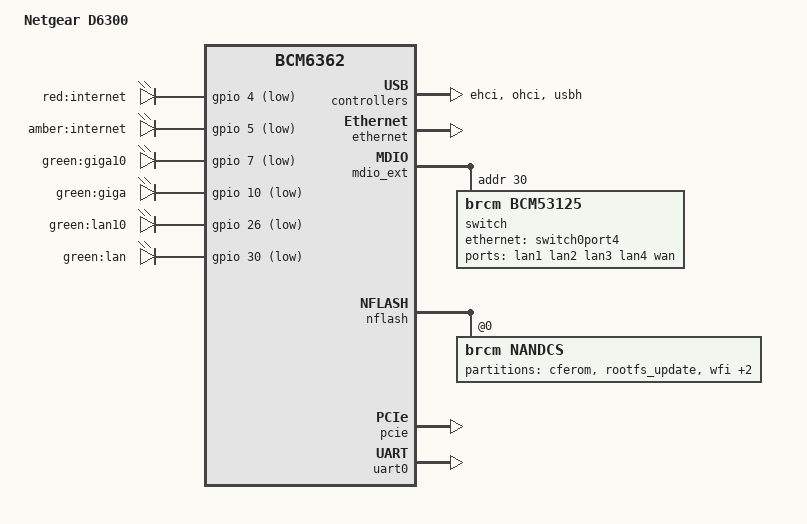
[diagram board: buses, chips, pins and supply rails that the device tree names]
// SPDX-License-Identifier: GPL-2.0-or-later

#include "bcm6362.dtsi"

/ {
	model = "Netgear D6300";
	compatible = "netgear,d6300", "brcm,bcm6362";

	// TODO: boot/running LEDs, once the mapping of the 24 serial LED
	// positions is known (see comments below).

	leds {
		compatible = "gpio-leds";

		// LED connections confirmed from the stock firmware gpio_test.sh:
		//   INET_FAIL_LED    = GPIO 4
		//   INET_ACT_LED     = GPIO 5
		//   GIGA_10_LINK_LED = GPIO 7
		//   GIGA_LINK_LED    = GPIO 10
		//   LAN_10_LINK_LED  = GPIO 26
		//   LAN_LINK_LED     = GPIO 30
		led_internet_fail: led-4 {
			label = "red:internet";
			gpios = <&gpio 4 GPIO_ACTIVE_LOW>;
		};

		led_internet_act: led-5 {
			label = "amber:internet";
			gpios = <&gpio 5 GPIO_ACTIVE_LOW>;
		};

		led_giga10: led-7 {
			label = "green:giga10";
			gpios = <&gpio 7 GPIO_ACTIVE_LOW>;
		};

		led_giga: led-10 {
			label = "green:giga";
			gpios = <&gpio 10 GPIO_ACTIVE_LOW>;
		};

		led_lan10: led-26 {
			label = "green:lan10";
			gpios = <&gpio 26 GPIO_ACTIVE_LOW>;
		};

		led_lan: led-30 {
			label = "green:lan";
			gpios = <&gpio 30 GPIO_ACTIVE_LOW>;
		};
	};

	// TODO: keys (reset/wps/wlan). The stock firmware does not expose the
	// GPIO numbers; they must be determined on the device before enabling.
};

&ehci {
	status = "okay";
};

&ethernet {
	status = "okay";

	nvmem-cells = <&macaddr_cferom_6a0>;
	nvmem-cell-names = "mac-address";
};

&mdio_ext {
	switch@1e {
		compatible = "brcm,bcm53125";
		reg = <30>;

		dsa,member = <1 0>;

		ports {
			#address-cells = <1>;
			#size-cells = <0>;

			port@0 {
				reg = <0>;
				label = "lan1";
			};

			port@1 {
				reg = <1>;
				label = "lan2";
			};

			port@2 {
				reg = <2>;
				label = "lan3";
			};

			port@3 {
				reg = <3>;
				label = "lan4";
			};

			port@4 {
				reg = <4>;
				label = "wan";
			};

			port@8 {
				reg = <8>;

				phy-mode = "rgmii-id";
				ethernet = <&switch0port4>;

				fixed-link {
					speed = <1000>;
					full-duplex;
				};
			};
		};
	};
};

&nflash {
	status = "okay";

	nandcs@0 {
		compatible = "brcm,nandcs";
		reg = <0>;
		nand-ecc-step-size = <512>;
		nand-ecc-strength = <15>;
		nand-on-flash-bbt;

		#address-cells = <1>;
		#size-cells = <1>;

		partitions {
			compatible = "fixed-partitions";
			#address-cells = <1>;
			#size-cells = <1>;

			// Partition layout derived from the stock firmware boot log
			// (Linux 2.6.30, bcm963xx_mtd): nvram/rootfs_update/rootfs/data.
			// The CFE boots the "latest image" from the rootfs area (0x1d80000).
			// TODO: verify the exact CFE layout (cferom size, flags area)
			// from the CFE prompt before the upstream submission.

			partition@0 {
				label = "cferom";
				reg = <0x0000000 0x0004000>;
				read-only;

				nvmem-layout {
					compatible = "fixed-layout";
					#address-cells = <1>;
					#size-cells = <1>;

					// TODO: verify the MAC offset on the device
					// (DGND3700v2 uses 0x6a0 in its cferom).
					macaddr_cferom_6a0: macaddr@6a0 {
						reg = <0x6a0 0x6>;
					};
				};
			};

			partition@4000 {
				label = "rootfs_update";
				reg = <0x0004000 0x1d7c000>;
			};

			partition@1d80000 {
				compatible = "brcm,wfi";
				label = "wfi";
				reg = <0x1d80000 0x1d7c000>;
				brcm,cferam = "cferam";
			};

			partition@3afc000 {
				label = "flag";
				reg = <0x3afc000 0x0004000>;
				read-only;
			};

			partition@3b00000 {
				label = "data";
				reg = <0x3b00000 0x0400000>;
			};
		};
	};
};

&ohci {
	status = "okay";
};

&pcie {
	status = "okay";
};

&pinctrl {
	pinctrl_leds: leds {
		function = "led";
		pins = "gpio1";
	};
};

&switch0 {
	dsa,member = <0 0>;

	ports {
		switch0port4: port@4 {
			reg = <4>;
			label = "extsw";

			phy-mode = "rgmii-id";

			fixed-link {
				speed = <1000>;
				full-duplex;
			};
		};
	};
};

&uart0 {
	status = "okay";
};

&usbh {
	status = "okay";
};

// Note: the stock firmware also drives the 24 serial LEDs on GPIO2 (clock)
// and GPIO3 (data), plus GPIO 32/33/34 directly. Their function mapping is
// unknown; the serial LED controller is therefore left disabled for now.
